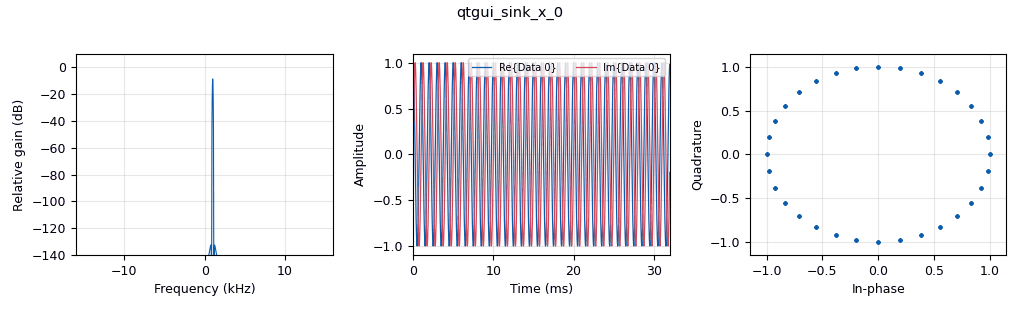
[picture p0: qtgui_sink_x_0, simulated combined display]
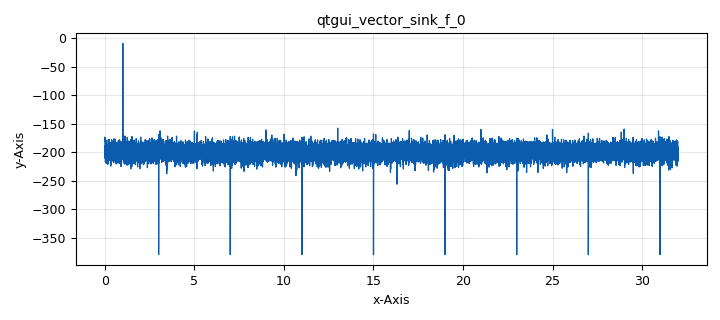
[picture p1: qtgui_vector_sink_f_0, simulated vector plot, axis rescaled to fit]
options:
  parameters:
    author: zzaw
    generate_options: qt_gui
    id: TEST_peak_detector
    output_language: python
    title: peak_detector
  states: {}

blocks:
- name: amp_sig_src
  id: variable_qtgui_range
  parameters:
    gui_hint: 0, 1
    start: '0'
    step: '1e-1'
    stop: '4'
    value: '1'
  states: {}
- name: fft_size
  id: variable
  parameters:
    value: '65536'
  states: {}
- name: freq_sig_src
  id: variable_qtgui_range
  parameters:
    gui_hint: 0, 0
    start: '0'
    step: '1'
    stop: 1e4
    value: '1000'
  states: {}
- name: period_peak_detector
  id: variable_qtgui_range
  parameters:
    gui_hint: 1, 0
    start: '1e-1'
    step: '1e-1'
    stop: 1e1
    value: '1'
  states: {}
- name: samp_rate
  id: variable
  parameters:
    value: '32000'
  states: {}
- name: analog_const_source_x_0
  id: analog_const_source_x
  parameters:
    const: '1'
    type: byte
  states: {}
- name: analog_const_source_x_0_0
  id: analog_const_source_x
  parameters:
    const: '1'
    type: byte
  states: {state: disabled}
- name: analog_sig_source_x_0
  id: analog_sig_source_x
  parameters:
    amp: amp_sig_src
    freq: freq_sig_src
    offset: '0'
    phase: '0'
    samp_rate: samp_rate
    type: complex
    waveform: analog.GR_COS_WAVE
  states: {}
- name: analog_sig_source_x_1
  id: analog_sig_source_x
  parameters:
    amp: '1'
    freq: 1/period_peak_detector
    offset: '0'
    phase: '0'
    samp_rate: samp_rate
    type: byte
    waveform: analog.GR_SQR_WAVE
  states: {}
- name: blocks_abs_xx_0
  id: blocks_abs_xx
  parameters:
    type: float
  states: {}
- name: blocks_add_const_vxx_0
  id: blocks_add_const_vxx
  parameters:
    const: '-freq_sig_src'
    type: float
  states: {}
- name: blocks_argmax_xx_0
  id: blocks_argmax_xx
  parameters:
    num_inputs: '1'
    type: float
    vlen: fft_size
  states: {}
- name: blocks_complex_to_mag_squared_0
  id: blocks_complex_to_mag_squared
  parameters:
    vlen: fft_size
  states: {}
- name: blocks_max_xx_0
  id: blocks_max_xx
  parameters:
    type: float
    vlen: fft_size
    vlen_out: '1'
  states: {}
- name: blocks_multiply_const_vxx_0
  id: blocks_multiply_const_vxx
  parameters:
    const: 1e6/samp_rate*1024/fft_size
    type: float
  states: {}
- name: blocks_multiply_const_vxx_1
  id: blocks_multiply_const_vxx
  parameters:
    const: 1e2/freq_sig_src
    type: float
  states: {}
- name: blocks_multiply_const_xx_0
  id: blocks_multiply_const_xx
  parameters:
    const: 1/fft_size
    type: complex
    vlen: fft_size
  states: {}
- name: blocks_nlog10_ff_0_0_0
  id: blocks_nlog10_ff
  parameters:
    k: '0'
    n: '10'
  states: {}
- name: blocks_nlog10_ff_0_0_0_0
  id: blocks_nlog10_ff
  parameters:
    k: '0'
    n: '10'
    vlen: fft_size
  states: {}
- name: blocks_null_sink_0
  id: blocks_null_sink
  parameters:
    type: short
  states: {}
- name: blocks_peak_detector_xb_0_0
  id: blocks_peak_detector_xb
  parameters:
    alpha: '0.001'
    look_ahead: '20'
    threshold_factor_fall: '0.40'
    threshold_factor_rise: '0.25'
    type: float
  states: {}
- name: blocks_sample_and_hold_xx_0_1
  id: blocks_sample_and_hold_xx
  parameters:
    type: float
  states: {state: disabled}
- name: blocks_sample_and_hold_xx_0_1_1
  id: blocks_sample_and_hold_xx
  parameters:
    type: byte
  states: {}
- name: blocks_sample_and_hold_xx_0_1_1_0
  id: blocks_sample_and_hold_xx
  parameters:
    type: byte
  states: {}
- name: blocks_short_to_float_0
  id: blocks_short_to_float
  parameters:
    scale: '1'
  states: {}
- name: blocks_stream_to_vector_0
  id: blocks_stream_to_vector
  parameters:
    num_items: fft_size
    type: complex
  states: {}
- name: blocks_throttle_0
  id: blocks_throttle
  parameters:
    samples_per_second: samp_rate*1e2
    type: complex
  states: {state: disabled}
- name: blocks_uchar_to_float_0
  id: blocks_uchar_to_float
  parameters: {}
  states: {state: disabled}
- name: blocks_uchar_to_float_0_0
  id: blocks_uchar_to_float
  parameters: {}
  states: {state: disabled}
- name: blocks_uchar_to_float_0_1
  id: blocks_uchar_to_float
  parameters: {}
  states: {state: disabled}
- name: blocks_vector_to_stream_0
  id: blocks_vector_to_stream
  parameters:
    num_items: fft_size
    type: float
  states: {}
- name: blocks_xor_xx_1
  id: blocks_xor_xx
  parameters:
    type: byte
  states: {}
- name: blocks_xor_xx_1_0
  id: blocks_xor_xx
  parameters:
    type: byte
  states: {}
- name: blocks_xor_xx_1_0_0
  id: blocks_xor_xx
  parameters:
    type: byte
  states: {state: disabled}
- name: fft_vxx_0
  id: fft_vxx
  parameters:
    fft_size: fft_size
    forward: 'True'
    shift: 'False'
    type: complex
    window: window.blackmanharris(fft_size)
  states: {}
- name: qtgui_number_sink_1
  id: qtgui_number_sink
  parameters:
    graph_type: qtgui.NUM_GRAPH_NONE
    gui_hint: 3, 1
    label1: '"freq_detected"'
    type: float
  states: {}
- name: qtgui_number_sink_1_0
  id: qtgui_number_sink
  parameters:
    graph_type: qtgui.NUM_GRAPH_NONE
    gui_hint: 4, 1
    label1: '"freq_err(%)"'
    type: float
  states: {}
- name: qtgui_number_sink_2_0
  id: qtgui_number_sink
  parameters:
    graph_type: qtgui.NUM_GRAPH_NONE
    gui_hint: 3, 0
    label1: '"power_spectrum_detected(dB)"'
    type: float
  states: {}
- name: qtgui_number_sink_3
  id: qtgui_number_sink
  parameters:
    graph_type: qtgui.NUM_GRAPH_HORIZ
    gui_hint: 1,1
    label1: '"peak_detected"'
    min: '0'
    type: byte
  states: {}
- name: qtgui_sink_x_0
  id: qtgui_sink_x
  parameters:
    bw: samp_rate
    fc: '0'
    fftsize: '1024'
    gui_hint: 2, 0
    type: complex
  states: {}
- name: qtgui_time_sink_x_0
  id: qtgui_time_sink_x
  parameters:
    ctrlpanel: 'True'
    grid: 'True'
    nconnections: '3'
    size: '1024'
    srate: samp_rate
    tr_level: '0'
    type: float
    ymax: '2'
  states: {state: disabled}
- name: qtgui_vector_sink_f_0
  id: qtgui_vector_sink_f
  parameters:
    grid: 'True'
    gui_hint: 2, 1
    update_time: '0.05'
    vlen: fft_size
    x_start: '0'
    x_step: 1e3/samp_rate*1024/fft_size
    ymin: '-200'
  states: {}
- name: vsink_fft_1
  id: virtual_sink
  parameters:
    stream_id: '1'
  states: {}
- name: vsink_frequency_detected
  id: virtual_sink
  parameters:
    stream_id: '4'
  states: {}
- name: vsink_peak_detected
  id: virtual_sink
  parameters:
    stream_id: '3'
  states: {}
- name: vsink_sig_src
  id: virtual_sink
  parameters:
    stream_id: '0'
  states: {}
- name: vsink_sigsrc_updating_sign
  id: virtual_sink
  parameters:
    stream_id: '2'
  states: {}
- name: vsrc_fft_1
  id: virtual_source
  parameters:
    stream_id: '1'
  states: {}
- name: vsrc_fft_1_0
  id: virtual_source
  parameters:
    stream_id: '1'
  states: {}
- name: vsrc_fft_1_1
  id: virtual_source
  parameters:
    stream_id: '1'
  states: {}
- name: vsrc_frequency_detected
  id: virtual_source
  parameters:
    stream_id: '4'
  states: {}
- name: vsrc_peak_detected
  id: virtual_source
  parameters:
    stream_id: '3'
  states: {state: disabled}
- name: vsrc_sig_src
  id: virtual_source
  parameters:
    stream_id: '0'
  states: {}
- name: vsrc_sigsrc_updating_sign
  id: virtual_source
  parameters:
    stream_id: '2'
  states: {}

connections:
- [analog_const_source_x_0, '0', blocks_xor_xx_1_0, '0']
- [analog_const_source_x_0_0, '0', blocks_xor_xx_1_0_0, '1']
- [analog_sig_source_x_0, '0', blocks_throttle_0, '0']
- [analog_sig_source_x_0, '0', qtgui_sink_x_0, '0']
- [analog_sig_source_x_0, '0', vsink_sig_src, '0']
- [analog_sig_source_x_1, '0', blocks_xor_xx_1_0, '1']
- [analog_sig_source_x_1, '0', vsink_sigsrc_updating_sign, '0']
- [blocks_abs_xx_0, '0', blocks_multiply_const_vxx_1, '0']
- [blocks_add_const_vxx_0, '0', blocks_abs_xx_0, '0']
- [blocks_argmax_xx_0, '0', blocks_short_to_float_0, '0']
- [blocks_argmax_xx_0, '1', blocks_null_sink_0, '0']
- [blocks_complex_to_mag_squared_0, '0', blocks_nlog10_ff_0_0_0_0, '0']
- [blocks_complex_to_mag_squared_0, '0', vsink_fft_1, '0']
- [blocks_max_xx_0, '0', blocks_nlog10_ff_0_0_0, '0']
- [blocks_multiply_const_vxx_0, '0', qtgui_number_sink_1, '0']
- [blocks_multiply_const_vxx_0, '0', vsink_frequency_detected, '0']
- [blocks_multiply_const_vxx_1, '0', qtgui_number_sink_1_0, '0']
- [blocks_multiply_const_xx_0, '0', blocks_complex_to_mag_squared_0, '0']
- [blocks_nlog10_ff_0_0_0, '0', blocks_sample_and_hold_xx_0_1, '0']
- [blocks_nlog10_ff_0_0_0, '0', qtgui_number_sink_2_0, '0']
- [blocks_nlog10_ff_0_0_0_0, '0', qtgui_vector_sink_f_0, '0']
- [blocks_peak_detector_xb_0_0, '0', blocks_sample_and_hold_xx_0_1_1, '0']
- [blocks_peak_detector_xb_0_0, '0', blocks_xor_xx_1, '0']
- [blocks_sample_and_hold_xx_0_1, '0', qtgui_number_sink_2_0, '0']
- [blocks_sample_and_hold_xx_0_1_1, '0', blocks_sample_and_hold_xx_0_1_1_0, '0']
- [blocks_sample_and_hold_xx_0_1_1, '0', blocks_uchar_to_float_0_0, '0']
- [blocks_sample_and_hold_xx_0_1_1_0, '0', blocks_uchar_to_float_0_1, '0']
- [blocks_sample_and_hold_xx_0_1_1_0, '0', qtgui_number_sink_3, '0']
- [blocks_sample_and_hold_xx_0_1_1_0, '0', vsink_peak_detected, '0']
- [blocks_short_to_float_0, '0', blocks_multiply_const_vxx_0, '0']
- [blocks_stream_to_vector_0, '0', fft_vxx_0, '0']
- [blocks_throttle_0, '0', vsink_sig_src, '0']
- [blocks_uchar_to_float_0, '0', qtgui_time_sink_x_0, '0']
- [blocks_uchar_to_float_0_0, '0', qtgui_time_sink_x_0, '1']
- [blocks_uchar_to_float_0_1, '0', qtgui_time_sink_x_0, '2']
- [blocks_vector_to_stream_0, '0', blocks_peak_detector_xb_0_0, '0']
- [blocks_xor_xx_1, '0', blocks_sample_and_hold_xx_0_1_1, '1']
- [blocks_xor_xx_1_0, '0', blocks_xor_xx_1, '1']
- [blocks_xor_xx_1_0_0, '0', blocks_sample_and_hold_xx_0_1, '1']
- [fft_vxx_0, '0', blocks_multiply_const_xx_0, '0']
- [vsrc_fft_1, '0', blocks_vector_to_stream_0, '0']
- [vsrc_fft_1_0, '0', blocks_max_xx_0, '0']
- [vsrc_fft_1_1, '0', blocks_argmax_xx_0, '0']
- [vsrc_frequency_detected, '0', blocks_add_const_vxx_0, '0']
- [vsrc_peak_detected, '0', blocks_xor_xx_1_0_0, '0']
- [vsrc_sig_src, '0', blocks_stream_to_vector_0, '0']
- [vsrc_sigsrc_updating_sign, '0', blocks_sample_and_hold_xx_0_1_1_0, '1']
- [vsrc_sigsrc_updating_sign, '0', blocks_uchar_to_float_0, '0']

metadata:
  file_format: 1
  grc_version: 3.10.4.0
